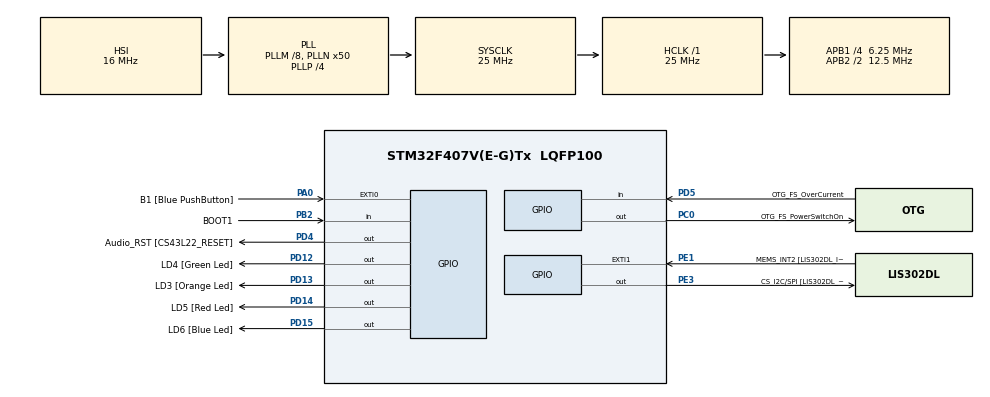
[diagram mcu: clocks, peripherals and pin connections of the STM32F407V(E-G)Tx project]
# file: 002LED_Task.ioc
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Mcu.Family=STM32F4
Mcu.Name=STM32F407V(E-G)Tx
Mcu.Package=LQFP100
NVIC.PriorityGroup=NVIC_PRIORITYGROUP_4
NVIC.TIM6_DAC_IRQn=true\:0\:0\:false\:false\:true\:false\:true\:true
NVIC.TimeBase=TIM6_DAC_IRQn
NVIC.TimeBaseIP=TIM6
PA0-WKUP.GPIO_Label=B1 [Blue PushButton]
PA0-WKUP.Signal=GPXTI0
PA10.GPIO_Label=OTG_FS_ID
PA10.GPIO_Mode=GPIO_MODE_AF_PP
PA10.GPIO_PuPd=GPIO_NOPULL
PA10.GPIO_Speed=GPIO_SPEED_FREQ_LOW
PA10.Signal=USB_OTG_FS_ID
PA11.GPIO_Label=OTG_FS_DM
PA11.GPIO_Mode=GPIO_MODE_AF_PP
PA11.GPIO_PuPd=GPIO_NOPULL
PA11.GPIO_Speed=GPIO_SPEED_FREQ_LOW
PA11.Signal=USB_OTG_FS_DM
PA12.GPIO_Label=OTG_FS_DP
PA12.GPIO_Mode=GPIO_MODE_AF_PP
PA12.GPIO_PuPd=GPIO_NOPULL
PA12.GPIO_Speed=GPIO_SPEED_FREQ_LOW
PA12.Signal=USB_OTG_FS_DP
PA13.GPIO_Label=SWDIO
PA13.Signal=SYS_JTMS-SWDIO
PA14.GPIO_Label=SWCLK
PA14.Signal=SYS_JTCK-SWCLK
PA4.GPIO_Label=I2S3_WS [CS43L22_LRCK]
PA4.GPIO_Mode=GPIO_MODE_AF_PP
PA4.GPIO_PuPd=GPIO_NOPULL
PA4.GPIO_Speed=GPIO_SPEED_FREQ_LOW
PA4.Signal=I2S3_WS
PA5.GPIO_Label=SPI1_SCK [LIS302DL_SCL/SPC]
PA5.GPIO_Mode=GPIO_MODE_AF_PP
PA5.GPIO_PuPd=GPIO_NOPULL
PA5.GPIO_Speed=GPIO_SPEED_FREQ_LOW
PA5.Signal=SPI1_SCK
PA6.GPIO_Label=SPI1_MISO [LIS302DL_SDO]
PA6.GPIO_Mode=GPIO_MODE_AF_PP
PA6.GPIO_PuPd=GPIO_NOPULL
PA6.GPIO_Speed=GPIO_SPEED_FREQ_LOW
PA6.Signal=SPI1_MISO
PA7.GPIO_Label=SPI1_MOSI [LIS302DL_SDA/SDI/SDO]
PA7.GPIO_Mode=GPIO_MODE_AF_PP
PA7.GPIO_PuPd=GPIO_NOPULL
PA7.GPIO_Speed=GPIO_SPEED_FREQ_LOW
PA7.Signal=SPI1_MOSI
PA9.GPIO_Label=VBUS_FS
PA9.GPIO_Mode=GPIO_MODE_INPUT
PA9.GPIO_PuPd=GPIO_NOPULL
PA9.Signal=USB_OTG_FS_VBUS
PB10.GPIO_Label=CLK_IN [MP45DT02_CLK]
PB10.GPIO_Mode=GPIO_MODE_AF_PP
PB10.GPIO_PuPd=GPIO_NOPULL
PB10.GPIO_Speed=GPIO_SPEED_FREQ_LOW
PB10.Signal=I2S2_CK
PB2.GPIO_Label=BOOT1
PB2.GPIO_Mode=GPIO_MODE_INPUT
PB2.GPIO_PuPd=GPIO_NOPULL
PB2.Signal=GPIO_Input
PB3.GPIO_Label=SWO
PB3.Signal=SYS_JTDO-SWO
PB6.GPIO_Label=Audio_SCL [CS43L22_SCL]
PB6.GPIO_Mode=GPIO_MODE_AF_OD
PB6.GPIO_PuPd=GPIO_NOPULL
PB6.GPIO_Speed=GPIO_SPEED_FREQ_LOW
PB6.Signal=I2C1_SCL
PB9.GPIO_Label=Audio_SDA [CS43L22_SDA]
PB9.GPIO_Mode=GPIO_MODE_AF_OD
PB9.GPIO_PuPd=GPIO_NOPULL
PB9.GPIO_Speed=GPIO_SPEED_FREQ_LOW
PB9.Signal=I2C1_SDA
PC0.GPIO_Label=OTG_FS_PowerSwitchOn
PC0.GPIO_PuPd=GPIO_NOPULL
PC0.GPIO_Speed=GPIO_SPEED_FREQ_LOW
PC0.PinState=GPIO_PIN_SET
PC0.Signal=GPIO_Output
PC10.GPIO_Label=I2S3_SCK [CS43L22_SCLK]
PC10.GPIO_Mode=GPIO_MODE_AF_PP
PC10.GPIO_PuPd=GPIO_NOPULL
PC10.GPIO_Speed=GPIO_SPEED_FREQ_LOW
PC10.Signal=I2S3_CK
PC12.GPIO_Label=I2S3_SD [CS43L22_SDIN]
PC12.GPIO_Mode=GPIO_MODE_AF_PP
PC12.GPIO_PuPd=GPIO_NOPULL
PC12.GPIO_Speed=GPIO_SPEED_FREQ_LOW
PC12.Signal=I2S3_SD
PC14-OSC32_IN.GPIO_Label=PC14-OSC32_IN
PC14-OSC32_IN.Signal=RCC_OSC32_IN
PC15-OSC32_OUT.GPIO_Label=PC15-OSC32_OUT
PC15-OSC32_OUT.Signal=RCC_OSC32_OUT
PC3.GPIO_Label=PDM_OUT [MP45DT02_DOUT]
PC3.GPIO_Mode=GPIO_MODE_AF_PP
PC3.GPIO_PuPd=GPIO_NOPULL
PC3.GPIO_Speed=GPIO_SPEED_FREQ_LOW
PC3.Signal=I2S2_SD
PC7.GPIO_Label=I2S3_MCK [CS43L22_MCLK]
PC7.GPIO_Mode=GPIO_MODE_AF_PP
PC7.GPIO_PuPd=GPIO_NOPULL
PC7.GPIO_Speed=GPIO_SPEED_FREQ_LOW
PC7.Signal=I2S3_MCK
PD12.GPIO_Label=LD4 [Green Led]
PD12.GPIO_PuPd=GPIO_NOPULL
PD12.GPIO_Speed=GPIO_SPEED_FREQ_LOW
PD12.Signal=GPIO_Output
PD13.GPIO_Label=LD3 [Orange Led]
PD13.GPIO_PuPd=GPIO_NOPULL
PD13.GPIO_Speed=GPIO_SPEED_FREQ_LOW
PD13.Signal=GPIO_Output
PD14.GPIO_Label=LD5 [Red Led]
PD14.GPIO_PuPd=GPIO_NOPULL
PD14.GPIO_Speed=GPIO_SPEED_FREQ_LOW
PD14.Signal=GPIO_Output
PD15.GPIO_Label=LD6 [Blue Led]
PD15.GPIO_PuPd=GPIO_NOPULL
PD15.GPIO_Speed=GPIO_SPEED_FREQ_LOW
PD15.Signal=GPIO_Output
PD4.GPIO_Label=Audio_RST [CS43L22_RESET]
PD4.GPIO_PuPd=GPIO_NOPULL
PD4.GPIO_Speed=GPIO_SPEED_FREQ_LOW
PD4.Signal=GPIO_Output
PD5.GPIO_Label=OTG_FS_OverCurrent
PD5.GPIO_Mode=GPIO_MODE_INPUT
PD5.GPIO_PuPd=GPIO_NOPULL
PD5.Signal=GPIO_Input
PE1.GPIO_Label=MEMS_INT2 [LIS302DL_INT2]
PE1.GPIO_ModeDefaultEXTI=GPIO_MODE_EVT_RISING
PE1.GPIO_PuPd=GPIO_NOPULL
PE1.Signal=GPXTI1
PE3.GPIO_Label=CS_I2C/SPI [LIS302DL_CS_I2C/SPI]
PE3.GPIO_PuPd=GPIO_NOPULL
PE3.GPIO_Speed=GPIO_SPEED_FREQ_LOW
PE3.Signal=GPIO_Output
PH0-OSC_IN.GPIO_Label=PH0-OSC_IN
PH0-OSC_IN.Signal=RCC_OSC_IN
PH1-OSC_OUT.GPIO_Label=PH1-OSC_OUT
PH1-OSC_OUT.Signal=RCC_OSC_OUT
ProjectManager.HeapSize=0x200
ProjectManager.StackSize=0x400
ProjectManager.TargetToolchain=STM32CubeIDE
RCC.48MHZClocksFreq_Value=14285714.285714285
RCC.AHBFreq_Value=25000000
RCC.APB1CLKDivider=RCC_HCLK_DIV4
RCC.APB1Freq_Value=6250000
RCC.APB1TimFreq_Value=12500000
RCC.APB2CLKDivider=RCC_HCLK_DIV2
RCC.APB2Freq_Value=12500000
RCC.APB2TimFreq_Value=25000000
RCC.CortexFreq_Value=25000000
RCC.HCLKFreq_Value=25000000
RCC.HSE_VALUE=8000000
RCC.HSI_VALUE=16000000
RCC.LSE_VALUE=32768
RCC.PLLM=8
RCC.PLLN=50
RCC.PLLP=RCC_PLLP_DIV4
RCC.PLLQ=7
RCC.SYSCLKFreq_VALUE=25000000
RCC.SYSCLKSource=RCC_SYSCLKSOURCE_PLLCLK
RCC.VCOOutputFreq_Value=100000000
VP_SYS_VS_tim6.Mode=TIM6
board=STM32F407G-DISC1

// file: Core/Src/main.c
/* USER CODE BEGIN Header */
/**
  ******************************************************************************
  * @file           : main.c
  * @brief          : Main program body
  ******************************************************************************
  * @attention
  *
  * Copyright (c) 2025 STMicroelectronics.
  * All rights reserved.
  *
  * This software is licensed under terms that can be found in the LICENSE file
  * in the root directory of this software component.
  * If no LICENSE file comes with this software, it is provided AS-IS.
  *
  ******************************************************************************
  */
/* USER CODE END Header */
#include "main.h"

/* USER CODE BEGIN Includes */

#include <stdio.h>
#include "FreeRTOS.h"
#include "task.h"

/* USER CODE END Includes */

/* USER CODE BEGIN PV */

#define DWT_CTRL    (*(volatile uint32_t*)0xE0001000)
uint8_t ucHeap[ configTOTAL_HEAP_SIZE ];

/* USER CODE END PV */

void SystemClock_Config(void);
static void MX_GPIO_Init(void);

/* USER CODE BEGIN 0 */

static void led_green_handler(void* parameters);
static void led_orange_handler(void* parameters);
static void led_red_handler(void* parameters);

/* USER CODE END 0 */

int main(void)
{

  /* USER CODE BEGIN 1 */

	TaskHandle_t task1_handle;
	TaskHandle_t task2_handle;
	TaskHandle_t task3_handle;

	BaseType_t status;

  /* USER CODE END 1 */

  /* MCU Configuration--------------------------------------------------------*/

  /* Reset of all peripherals, Initializes the Flash interface and the Systick. */

	HAL_Init();  // 底層硬體初始化

  /* Configure the system clock */
  SystemClock_Config();

  /* Initialize all configured peripherals */
  MX_GPIO_Init();
  /* USER CODE BEGIN 2 */

  //Enable the CYCCNT counter.
  DWT_CTRL |= ( 1 << 0);

  //SEGGER_UART_init(500000);

  SEGGER_SYSVIEW_Conf();

  SEGGER_SYSVIEW_Start();

  status = xTaskCreate(led_green_handler, "LED green Task", 200, NULL, 2, &task1_handle);

  configASSERT(status == pdPASS);

  status = xTaskCreate(led_red_handler, "LED red Task", 200, NULL, 2, &task2_handle);

  configASSERT(status == pdPASS);

  status = xTaskCreate(led_orange_handler, "LED orange Task", 200, NULL, 2, &task3_handle);

  configASSERT(status == pdPASS);

  //start the freeRTOS scheduler
  vTaskStartScheduler();

  /* USER CODE END 2 */

  /* Infinite loop */
  while (1)
  {

  }
}

void SystemClock_Config(void)
{
  RCC_OscInitTypeDef RCC_OscInitStruct = {0};
  RCC_ClkInitTypeDef RCC_ClkInitStruct = {0};

  /** Configure the main internal regulator output voltage
  */
  __HAL_RCC_PWR_CLK_ENABLE();
  __HAL_PWR_VOLTAGESCALING_CONFIG(PWR_REGULATOR_VOLTAGE_SCALE1);

  /** Initializes the RCC Oscillators according to the specified parameters
  * in the RCC_OscInitTypeDef structure.
  */
  RCC_OscInitStruct.OscillatorType = RCC_OSCILLATORTYPE_HSI;
  RCC_OscInitStruct.HSIState = RCC_HSI_ON;
  RCC_OscInitStruct.HSICalibrationValue = RCC_HSICALIBRATION_DEFAULT;
  RCC_OscInitStruct.PLL.PLLState = RCC_PLL_ON;
  RCC_OscInitStruct.PLL.PLLSource = RCC_PLLSOURCE_HSI;
  RCC_OscInitStruct.PLL.PLLM = 8;
  RCC_OscInitStruct.PLL.PLLN = 50;
  RCC_OscInitStruct.PLL.PLLP = RCC_PLLP_DIV4;
  RCC_OscInitStruct.PLL.PLLQ = 7;
  if (HAL_RCC_OscConfig(&RCC_OscInitStruct) != HAL_OK)
  {
    Error_Handler();
  }

  /** Initializes the CPU, AHB and APB buses clocks
  */
  RCC_ClkInitStruct.ClockType = RCC_CLOCKTYPE_HCLK|RCC_CLOCKTYPE_SYSCLK
                              |RCC_CLOCKTYPE_PCLK1|RCC_CLOCKTYPE_PCLK2;
  RCC_ClkInitStruct.SYSCLKSource = RCC_SYSCLKSOURCE_PLLCLK;
  RCC_ClkInitStruct.AHBCLKDivider = RCC_SYSCLK_DIV1;
  RCC_ClkInitStruct.APB1CLKDivider = RCC_HCLK_DIV4;
  RCC_ClkInitStruct.APB2CLKDivider = RCC_HCLK_DIV2;

  if (HAL_RCC_ClockConfig(&RCC_ClkInitStruct, FLASH_LATENCY_0) != HAL_OK)
  {
    Error_Handler();
  }
}

static void MX_GPIO_Init(void)
{
  GPIO_InitTypeDef GPIO_InitStruct = {0};

  /* GPIO Ports Clock Enable */
  __HAL_RCC_GPIOE_CLK_ENABLE();
  __HAL_RCC_GPIOC_CLK_ENABLE();
  __HAL_RCC_GPIOH_CLK_ENABLE();
  __HAL_RCC_GPIOA_CLK_ENABLE();
  __HAL_RCC_GPIOB_CLK_ENABLE();
  __HAL_RCC_GPIOD_CLK_ENABLE();

  /*Configure GPIO pin Output Level */
  HAL_GPIO_WritePin(CS_I2C_SPI_GPIO_Port, CS_I2C_SPI_Pin, GPIO_PIN_RESET);

  /*Configure GPIO pin Output Level */
  HAL_GPIO_WritePin(OTG_FS_PowerSwitchOn_GPIO_Port, OTG_FS_PowerSwitchOn_Pin, GPIO_PIN_SET);

  /*Configure GPIO pin Output Level */
  HAL_GPIO_WritePin(GPIOD, LD4_Pin|LD3_Pin|LD5_Pin|LD6_Pin
                          |Audio_RST_Pin, GPIO_PIN_RESET);

  /*Configure GPIO pin : CS_I2C_SPI_Pin */
  GPIO_InitStruct.Pin = CS_I2C_SPI_Pin;
  GPIO_InitStruct.Mode = GPIO_MODE_OUTPUT_PP;
  GPIO_InitStruct.Pull = GPIO_NOPULL;
  GPIO_InitStruct.Speed = GPIO_SPEED_FREQ_LOW;
  HAL_GPIO_Init(CS_I2C_SPI_GPIO_Port, &GPIO_InitStruct);

  /*Configure GPIO pin : OTG_FS_PowerSwitchOn_Pin */
  GPIO_InitStruct.Pin = OTG_FS_PowerSwitchOn_Pin;
  GPIO_InitStruct.Mode = GPIO_MODE_OUTPUT_PP;
  GPIO_InitStruct.Pull = GPIO_NOPULL;
  GPIO_InitStruct.Speed = GPIO_SPEED_FREQ_LOW;
  HAL_GPIO_Init(OTG_FS_PowerSwitchOn_GPIO_Port, &GPIO_InitStruct);

  /*Configure GPIO pin : PDM_OUT_Pin */
  GPIO_InitStruct.Pin = PDM_OUT_Pin;
  GPIO_InitStruct.Mode = GPIO_MODE_AF_PP;
  GPIO_InitStruct.Pull = GPIO_NOPULL;
  GPIO_InitStruct.Speed = GPIO_SPEED_FREQ_LOW;
  GPIO_InitStruct.Alternate = GPIO_AF5_SPI2;
  HAL_GPIO_Init(PDM_OUT_GPIO_Port, &GPIO_InitStruct);

  /*Configure GPIO pin : B1_Pin */
  GPIO_InitStruct.Pin = B1_Pin;
  GPIO_InitStruct.Mode = GPIO_MODE_IT_RISING;
  GPIO_InitStruct.Pull = GPIO_NOPULL;
  HAL_GPIO_Init(B1_GPIO_Port, &GPIO_InitStruct);

  /*Configure GPIO pin : I2S3_WS_Pin */
  GPIO_InitStruct.Pin = I2S3_WS_Pin;
  GPIO_InitStruct.Mode = GPIO_MODE_AF_PP;
  GPIO_InitStruct.Pull = GPIO_NOPULL;
  GPIO_InitStruct.Speed = GPIO_SPEED_FREQ_LOW;
  GPIO_InitStruct.Alternate = GPIO_AF6_SPI3;
  HAL_GPIO_Init(I2S3_WS_GPIO_Port, &GPIO_InitStruct);

  /*Configure GPIO pins : SPI1_SCK_Pin SPI1_MISO_Pin SPI1_MOSI_Pin */
  GPIO_InitStruct.Pin = SPI1_SCK_Pin|SPI1_MISO_Pin|SPI1_MOSI_Pin;
  GPIO_InitStruct.Mode = GPIO_MODE_AF_PP;
  GPIO_InitStruct.Pull = GPIO_NOPULL;
  GPIO_InitStruct.Speed = GPIO_SPEED_FREQ_LOW;
  GPIO_InitStruct.Alternate = GPIO_AF5_SPI1;
  HAL_GPIO_Init(GPIOA, &GPIO_InitStruct);

  /*Configure GPIO pin : BOOT1_Pin */
  GPIO_InitStruct.Pin = BOOT1_Pin;
  GPIO_InitStruct.Mode = GPIO_MODE_INPUT;
  GPIO_InitStruct.Pull = GPIO_NOPULL;
  HAL_GPIO_Init(BOOT1_GPIO_Port, &GPIO_InitStruct);

  /*Configure GPIO pin : CLK_IN_Pin */
  GPIO_InitStruct.Pin = CLK_IN_Pin;
  GPIO_InitStruct.Mode = GPIO_MODE_AF_PP;
  GPIO_InitStruct.Pull = GPIO_NOPULL;
  GPIO_InitStruct.Speed = GPIO_SPEED_FREQ_LOW;
  GPIO_InitStruct.Alternate = GPIO_AF5_SPI2;
  HAL_GPIO_Init(CLK_IN_GPIO_Port, &GPIO_InitStruct);

  /*Configure GPIO pins : LD4_Pin LD3_Pin LD5_Pin LD6_Pin
                           Audio_RST_Pin */
  GPIO_InitStruct.Pin = LD4_Pin|LD3_Pin|LD5_Pin|LD6_Pin
                          |Audio_RST_Pin;
  GPIO_InitStruct.Mode = GPIO_MODE_OUTPUT_PP;
  GPIO_InitStruct.Pull = GPIO_NOPULL;
  GPIO_InitStruct.Speed = GPIO_SPEED_FREQ_LOW;
  HAL_GPIO_Init(GPIOD, &GPIO_InitStruct);

  /*Configure GPIO pins : I2S3_MCK_Pin I2S3_SCK_Pin I2S3_SD_Pin */
  GPIO_InitStruct.Pin = I2S3_MCK_Pin|I2S3_SCK_Pin|I2S3_SD_Pin;
  GPIO_InitStruct.Mode = GPIO_MODE_AF_PP;
  GPIO_InitStruct.Pull = GPIO_NOPULL;
  GPIO_InitStruct.Speed = GPIO_SPEED_FREQ_LOW;
  GPIO_InitStruct.Alternate = GPIO_AF6_SPI3;
  HAL_GPIO_Init(GPIOC, &GPIO_InitStruct);

  /*Configure GPIO pin : VBUS_FS_Pin */
  GPIO_InitStruct.Pin = VBUS_FS_Pin;
  GPIO_InitStruct.Mode = GPIO_MODE_INPUT;
  GPIO_InitStruct.Pull = GPIO_NOPULL;
  HAL_GPIO_Init(VBUS_FS_GPIO_Port, &GPIO_InitStruct);

  /*Configure GPIO pins : OTG_FS_ID_Pin OTG_FS_DM_Pin OTG_FS_DP_Pin */
  GPIO_InitStruct.Pin = OTG_FS_ID_Pin|OTG_FS_DM_Pin|OTG_FS_DP_Pin;
  GPIO_InitStruct.Mode = GPIO_MODE_AF_PP;
  GPIO_InitStruct.Pull = GPIO_NOPULL;
  GPIO_InitStruct.Speed = GPIO_SPEED_FREQ_LOW;
  GPIO_InitStruct.Alternate = GPIO_AF10_OTG_FS;
  HAL_GPIO_Init(GPIOA, &GPIO_InitStruct);

  /*Configure GPIO pin : OTG_FS_OverCurrent_Pin */
  GPIO_InitStruct.Pin = OTG_FS_OverCurrent_Pin;
  GPIO_InitStruct.Mode = GPIO_MODE_INPUT;
  GPIO_InitStruct.Pull = GPIO_NOPULL;
  HAL_GPIO_Init(OTG_FS_OverCurrent_GPIO_Port, &GPIO_InitStruct);

  /*Configure GPIO pins : Audio_SCL_Pin Audio_SDA_Pin */
  GPIO_InitStruct.Pin = Audio_SCL_Pin|Audio_SDA_Pin;
  GPIO_InitStruct.Mode = GPIO_MODE_AF_OD;
  GPIO_InitStruct.Pull = GPIO_NOPULL;
  GPIO_InitStruct.Speed = GPIO_SPEED_FREQ_LOW;
  GPIO_InitStruct.Alternate = GPIO_AF4_I2C1;
  HAL_GPIO_Init(GPIOB, &GPIO_InitStruct);

  /*Configure GPIO pin : MEMS_INT2_Pin */
  GPIO_InitStruct.Pin = MEMS_INT2_Pin;
  GPIO_InitStruct.Mode = GPIO_MODE_EVT_RISING;
  GPIO_InitStruct.Pull = GPIO_NOPULL;
  HAL_GPIO_Init(MEMS_INT2_GPIO_Port, &GPIO_InitStruct);

}

/* USER CODE BEGIN 4 */

static void led_green_handler(void* parameters){
	while(1){
		HAL_GPIO_TogglePin(GPIOD, LED_GREEN_PIN);
		//HAL_Delay(1000);   // 佔著 CPU 空轉，不做其他事
		vTaskDelay(pdMS_TO_TICKS(1000));  // 會去做其他 task，此 task 先休 1000 ticks -> 適用 RTOS
	}
}

static void led_orange_handler(void* parameters){
	while(1){
		HAL_GPIO_TogglePin(GPIOD, LED_ORANGE_PIN);
		//HAL_Delay(800);
		vTaskDelay(pdMS_TO_TICKS(800));
	}
}

static void led_red_handler(void* parameters){
	while(1){
		HAL_GPIO_TogglePin(GPIOD, LED_RED_PIN);
		//HAL_Delay(400);
		vTaskDelay(pdMS_TO_TICKS(400));
	}
}

/* USER CODE END 4 */

void HAL_TIM_PeriodElapsedCallback(TIM_HandleTypeDef *htim)
{
  if (htim->Instance == TIM6)
  {
    HAL_IncTick();
  }
}

void Error_Handler(void)
{
  __disable_irq();
  while (1)
  {
  }
}
